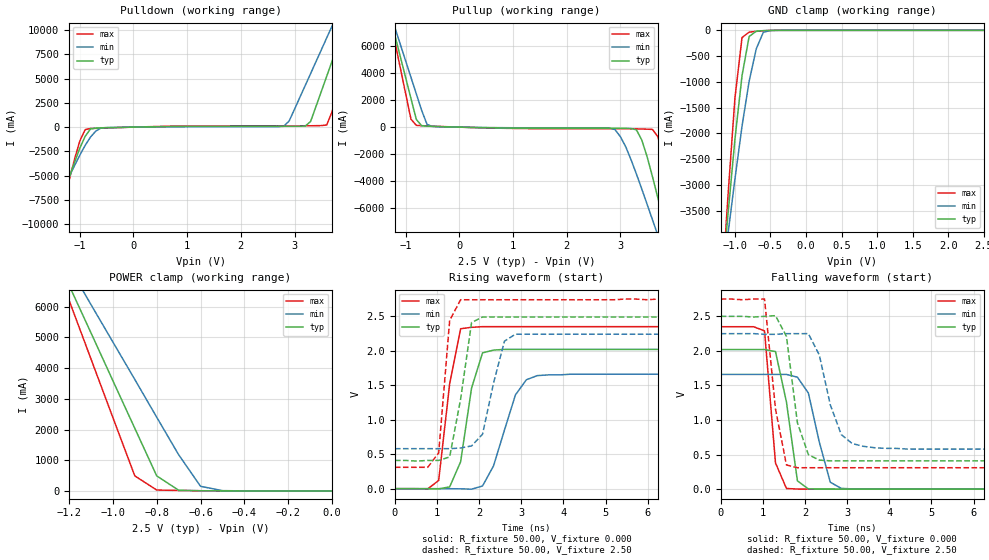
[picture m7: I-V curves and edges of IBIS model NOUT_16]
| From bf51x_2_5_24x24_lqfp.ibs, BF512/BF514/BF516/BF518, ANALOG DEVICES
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|   Model prw1216hcdg_25
[Model]   NOUT_16
Model_type   I/O
Polarity   Non-Inverting
Enable   Active-Low
Vinl =   0.70V
Vinh =   1.70V
Vmeas =   1.20V
Cref =  50.00pF
Rref =   1.00M
Vref =  0.000V
C_comp   7.99pF   7.54pF   8.52pF
[Temperature Range]   25.00   0.12k   -40.00
[Voltage Range]   2.50V   2.25V   2.75V
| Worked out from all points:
|   slope of the pulldown table from 0 to 0.375 V, typ, clamps not added: 9.7 ohm
|   slope of the pullup table from 0 to 0.375 V, typ, clamps not added: 11.2 ohm
|   GND clamp passes 1 mA (typ) near -0.47 V on its own axis
|   POWER clamp passes 1 mA (typ) near -0.48 V on its own axis
|   rising waveform, R_fixture 50.00, V_fixture 0.000: 20-80 % time 336ps typ, 503ps min, 312ps max; typ from 0 V to 2.02 V
|   rising waveform, R_fixture 50.00, V_fixture 2.50: 20-80 % time 329ps typ, 381ps min, 198ps max; typ from 0.41 V to 2.5 V
|   falling waveform, R_fixture 50.00, V_fixture 0.000: 20-80 % time 322ps typ, 393ps min, 192ps max; typ from 2.02 V to 0 V
|   falling waveform, R_fixture 50.00, V_fixture 2.50: 20-80 % time 308ps typ, 436ps min, 296ps max; typ from 2.5 V to 0.41 V
[Pulldown]
| voltage   I(typ)   I(min)   I(max)
-2.5V     -26.51A    -20.31A    -35.2A
-1.7V     -13.3A     -10.89A    -16.77A
-1.5V     -10.03A    -8.56A     -12.22A
-1.4V     -8.41A     -7.4A      -9.96A
-900mV    -950mA     -1.88A     -260mA
-600mV    -75.99mA   -77.62mA   -100mA
2.8V      90.77mA    89.76mA    140mA
3.3V      580mA      5.51A      140mA
3.6V      5.24A      9.19A      220mA
3.9V      9.91A      12.86A     5.4A
4.2V      14.58A     16.54A     11.14A
5V        27.06A     26.37A     26.45A
[Pullup]
| voltage   I(typ)   I(min)   I(max)
-2.5V     27.14A     23.4A      31.28A
-1.3V     8.37A      8.61A      8.25A
-900mV    2.12A      3.69A      590mA
-800mV    570mA      2.46A      130mA
-500mV    57.06mA    51.04mA    72.59mA
2.9V      -84.95mA   -180mA     -120mA
3.3V      -200mA     -3.48A     -130mA
3.6V      -3.69A     -6.88A     -170mA
3.8V      -6.86A     -9.19A     -2.37A
4V        -10.1A     -11.53A    -6.66A
4.1V      -11.74A    -12.7A     -8.9A
5V        -26.6A     -23.32A    -29.55A
[GND_clamp]
| voltage   I(typ)   I(min)   I(max)
-2.5V     -26.51A    -20.31A    -35.19A
-1.2V     -5.17A     -5.1A      -5.42A
-1.1V     -3.61A     -3.98A     -3.26A
-1V       -2.12A     -2.89A     -1.32A
-900mV    -880mA     -1.86A     -140mA
-800mV    -120mA     -990mA     -34.49mA
-700mV    -16.55mA   -360mA     -19.96mA
-600mV    -6.02mA    -37.6mA    -8.61mA
-500mV    -1.31mA    -3.8mA     -1.79mA
2.5V      200pA      12.43uA    -5.83uA
[POWER_clamp]
| voltage   I(typ)   I(min)   I(max)
-2.5V     26.96A     23.24A     31.08A
-1.3V     8.26A      8.52A      8.13A
-1.2V     6.7A       7.3A       6.21A
-1.1V     5.15A      6.07A      4.3A
-900mV    2.04A      3.63A      490mA
-800mV    490mA      2.4A       29.17mA
-700mV    22.68mA    1.18A      14.93mA
-600mV    5.18mA     150mA      6.63mA
-500mV    1.29mA     9.51mA     1.68mA
0V        200pA      6.47nA     -200pA
[Ramp]
| variable   typ   min   max
dV/dt_r   1.22/0.30n   1.00/0.50n   1.41/0.21n
dV/dt_f   1.26/0.27n   1.01/0.40n   1.47/0.17n
R_load = 50.00
[Rising Waveform]
R_fixture = 50.00
V_fixture = 0.000
V_fixture_min = 0.000
V_fixture_max = 0.000
L_fixture = 0.000H
C_fixture = 0.000F
| time   V(typ)   V(min)   V(max)
0s        0V         0V         0V
1.04ns    -2.3mV     -110uV     120mV
1.3ns     25.7mV     -800uV     1.52V
1.56ns    390mV      -1.97mV    2.32V
1.82ns    1.46V      -7.13mV    2.34V
2.08ns    1.97V      39.26mV    2.35V
2.34ns    2.01V      330mV      2.35V
2.86ns    2.02V      1.36V      2.35V
3.38ns    2.02V      1.64V      2.35V
13ns      2.02V      1.66V      2.35V
[Rising Waveform]
R_fixture = 50.00
V_fixture = 2.50
V_fixture_min = 2.25
V_fixture_max = 2.75
L_fixture = 0.000H
C_fixture = 0.000F
| time   V(typ)   V(min)   V(max)
0s        410mV      580mV      310mV
780ps     410mV      580mV      310mV
1.04ns    410mV      580mV      520mV
1.3ns     460mV      580mV      2.44V
1.56ns    1.3V       590mV      2.74V
1.82ns    2.41V      620mV      2.74V
2.08ns    2.49V      790mV      2.74V
2.6ns     2.49V      2.14V      2.74V
2.86ns    2.49V      2.24V      2.74V
13ns      2.5V       2.25V      2.75V
[Falling Waveform]
R_fixture = 50.00
V_fixture = 0.000
V_fixture_min = 0.000
V_fixture_max = 0.000
L_fixture = 0.000H
C_fixture = 0.000F
| time   V(typ)   V(min)   V(max)
0s        2.02V      1.66V      2.35V
1.04ns    2.02V      1.66V      2.29V
1.3ns     1.99V      1.66V      380mV
1.56ns    1.26V      1.66V      9.92mV
1.82ns    120mV      1.62V      1.7mV
2.08ns    3.53mV     1.39V      700uV
2.34ns    2.26mV     680mV      310uV
2.6ns     970uV      100mV      210uV
2.86ns    540uV      11.2mV     130uV
13ns      10.73uV    37.04uV    5.93uV
[Falling Waveform]
R_fixture = 50.00
V_fixture = 2.50
V_fixture_min = 2.25
V_fixture_max = 2.75
L_fixture = 0.000H
C_fixture = 0.000F
| time   V(typ)   V(min)   V(max)
0s        2.5V       2.25V      2.75V
1.04ns    2.5V       2.24V      2.75V
1.3ns     2.51V      2.24V      1.16V
1.56ns    2.21V      2.25V      350mV
1.82ns    960mV      2.25V      310mV
2.08ns    500mV      2.25V      310mV
2.34ns    420mV      1.94V      310mV
2.86ns    410mV      790mV      310mV
3.38ns    410mV      620mV      310mV
13ns      410mV      580mV      310mV
